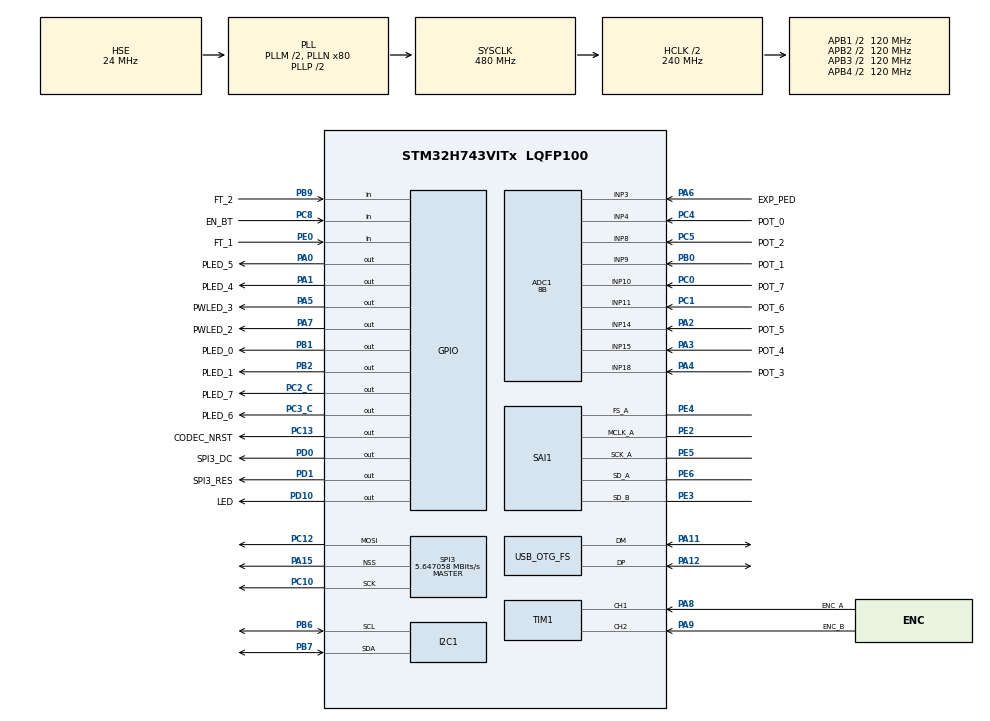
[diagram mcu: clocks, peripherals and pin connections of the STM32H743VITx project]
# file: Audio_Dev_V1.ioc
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ADC1.Channel-10\#ChannelRegularConversion=ADC_CHANNEL_3
ADC1.Channel-2\#ChannelRegularConversion=ADC_CHANNEL_4
ADC1.Channel-3\#ChannelRegularConversion=ADC_CHANNEL_9
ADC1.Channel-4\#ChannelRegularConversion=ADC_CHANNEL_8
ADC1.Channel-5\#ChannelRegularConversion=ADC_CHANNEL_18
ADC1.Channel-6\#ChannelRegularConversion=ADC_CHANNEL_15
ADC1.Channel-7\#ChannelRegularConversion=ADC_CHANNEL_14
ADC1.Channel-8\#ChannelRegularConversion=ADC_CHANNEL_11
ADC1.Channel-9\#ChannelRegularConversion=ADC_CHANNEL_10
ADC1.ContinuousConvMode=ENABLE
ADC1.ConversionDataManagement=ADC_CONVERSIONDATA_DMA_CIRCULAR
ADC1.NbrOfConversion=9
ADC1.NbrOfConversionFlag=1
ADC1.OffsetNumber-10\#ChannelRegularConversion=ADC_OFFSET_NONE
ADC1.OffsetNumber-2\#ChannelRegularConversion=ADC_OFFSET_NONE
ADC1.OffsetNumber-3\#ChannelRegularConversion=ADC_OFFSET_NONE
ADC1.OffsetNumber-4\#ChannelRegularConversion=ADC_OFFSET_NONE
ADC1.OffsetNumber-5\#ChannelRegularConversion=ADC_OFFSET_NONE
ADC1.OffsetNumber-6\#ChannelRegularConversion=ADC_OFFSET_NONE
ADC1.OffsetNumber-7\#ChannelRegularConversion=ADC_OFFSET_NONE
ADC1.OffsetNumber-8\#ChannelRegularConversion=ADC_OFFSET_NONE
ADC1.OffsetNumber-9\#ChannelRegularConversion=ADC_OFFSET_NONE
ADC1.OffsetSignedSaturation-10\#ChannelRegularConversion=DISABLE
ADC1.OffsetSignedSaturation-2\#ChannelRegularConversion=DISABLE
ADC1.OffsetSignedSaturation-3\#ChannelRegularConversion=DISABLE
ADC1.OffsetSignedSaturation-4\#ChannelRegularConversion=DISABLE
ADC1.OffsetSignedSaturation-5\#ChannelRegularConversion=DISABLE
ADC1.OffsetSignedSaturation-6\#ChannelRegularConversion=DISABLE
ADC1.OffsetSignedSaturation-7\#ChannelRegularConversion=DISABLE
ADC1.OffsetSignedSaturation-8\#ChannelRegularConversion=DISABLE
ADC1.OffsetSignedSaturation-9\#ChannelRegularConversion=DISABLE
ADC1.Rank-10\#ChannelRegularConversion=9
ADC1.Rank-2\#ChannelRegularConversion=1
ADC1.Rank-3\#ChannelRegularConversion=2
ADC1.Rank-4\#ChannelRegularConversion=3
ADC1.Rank-5\#ChannelRegularConversion=4
ADC1.Rank-6\#ChannelRegularConversion=5
ADC1.Rank-7\#ChannelRegularConversion=6
ADC1.Rank-8\#ChannelRegularConversion=7
ADC1.Rank-9\#ChannelRegularConversion=8
ADC1.Resolution=ADC_RESOLUTION_8B
ADC1.SamplingTime-10\#ChannelRegularConversion=ADC_SAMPLETIME_810CYCLES_5
ADC1.SamplingTime-2\#ChannelRegularConversion=ADC_SAMPLETIME_810CYCLES_5
ADC1.SamplingTime-3\#ChannelRegularConversion=ADC_SAMPLETIME_810CYCLES_5
ADC1.SamplingTime-4\#ChannelRegularConversion=ADC_SAMPLETIME_810CYCLES_5
ADC1.SamplingTime-5\#ChannelRegularConversion=ADC_SAMPLETIME_810CYCLES_5
ADC1.SamplingTime-6\#ChannelRegularConversion=ADC_SAMPLETIME_810CYCLES_5
ADC1.SamplingTime-7\#ChannelRegularConversion=ADC_SAMPLETIME_810CYCLES_5
ADC1.SamplingTime-8\#ChannelRegularConversion=ADC_SAMPLETIME_810CYCLES_5
ADC1.SamplingTime-9\#ChannelRegularConversion=ADC_SAMPLETIME_810CYCLES_5
ADC1.master=1
Dma.ADC1.2.Direction=DMA_PERIPH_TO_MEMORY
Dma.ADC1.2.EventEnable=DISABLE
Dma.ADC1.2.FIFOMode=DMA_FIFOMODE_DISABLE
Dma.ADC1.2.Instance=DMA1_Stream2
Dma.ADC1.2.MemDataAlignment=DMA_MDATAALIGN_BYTE
Dma.ADC1.2.MemInc=DMA_MINC_ENABLE
Dma.ADC1.2.Mode=DMA_CIRCULAR
Dma.ADC1.2.PeriphDataAlignment=DMA_PDATAALIGN_BYTE
Dma.ADC1.2.PeriphInc=DMA_PINC_DISABLE
Dma.ADC1.2.Polarity=HAL_DMAMUX_REQ_GEN_RISING
Dma.ADC1.2.Priority=DMA_PRIORITY_LOW
Dma.ADC1.2.RequestNumber=1
Dma.ADC1.2.SignalID=NONE
Dma.ADC1.2.SyncEnable=DISABLE
Dma.ADC1.2.SyncPolarity=HAL_DMAMUX_SYNC_NO_EVENT
Dma.ADC1.2.SyncRequestNumber=1
Dma.ADC1.2.SyncSignalID=NONE
Dma.Request0=SAI1_A
Dma.Request1=SAI1_B
Dma.Request2=ADC1
Dma.SAI1_A.0.Direction=DMA_MEMORY_TO_PERIPH
Dma.SAI1_A.0.EventEnable=DISABLE
Dma.SAI1_A.0.FIFOMode=DMA_FIFOMODE_DISABLE
Dma.SAI1_A.0.Instance=DMA1_Stream0
Dma.SAI1_A.0.MemDataAlignment=DMA_MDATAALIGN_WORD
Dma.SAI1_A.0.MemInc=DMA_MINC_ENABLE
Dma.SAI1_A.0.Mode=DMA_CIRCULAR
Dma.SAI1_A.0.PeriphDataAlignment=DMA_PDATAALIGN_WORD
Dma.SAI1_A.0.PeriphInc=DMA_PINC_DISABLE
Dma.SAI1_A.0.Polarity=HAL_DMAMUX_REQ_GEN_RISING
Dma.SAI1_A.0.Priority=DMA_PRIORITY_VERY_HIGH
Dma.SAI1_A.0.RequestNumber=1
Dma.SAI1_A.0.SignalID=NONE
Dma.SAI1_A.0.SyncEnable=DISABLE
Dma.SAI1_A.0.SyncPolarity=HAL_DMAMUX_SYNC_NO_EVENT
Dma.SAI1_A.0.SyncRequestNumber=1
Dma.SAI1_A.0.SyncSignalID=NONE
Dma.SAI1_B.1.Direction=DMA_PERIPH_TO_MEMORY
Dma.SAI1_B.1.EventEnable=DISABLE
Dma.SAI1_B.1.FIFOMode=DMA_FIFOMODE_DISABLE
Dma.SAI1_B.1.Instance=DMA1_Stream1
Dma.SAI1_B.1.MemDataAlignment=DMA_MDATAALIGN_WORD
Dma.SAI1_B.1.MemInc=DMA_MINC_ENABLE
Dma.SAI1_B.1.Mode=DMA_CIRCULAR
Dma.SAI1_B.1.PeriphDataAlignment=DMA_PDATAALIGN_WORD
Dma.SAI1_B.1.PeriphInc=DMA_PINC_DISABLE
Dma.SAI1_B.1.Polarity=HAL_DMAMUX_REQ_GEN_RISING
Dma.SAI1_B.1.Priority=DMA_PRIORITY_VERY_HIGH
Dma.SAI1_B.1.RequestNumber=1
Dma.SAI1_B.1.SignalID=NONE
Dma.SAI1_B.1.SyncEnable=DISABLE
Dma.SAI1_B.1.SyncPolarity=HAL_DMAMUX_SYNC_NO_EVENT
Dma.SAI1_B.1.SyncRequestNumber=1
Dma.SAI1_B.1.SyncSignalID=NONE
I2C1.Timing=0x40000A0B
Mcu.Family=STM32H7
Mcu.Name=STM32H743VITx
Mcu.Package=LQFP100
NVIC.DMA1_Stream0_IRQn=true\:0\:0\:false\:false\:true\:false\:true\:true
NVIC.DMA1_Stream1_IRQn=true\:0\:0\:false\:false\:true\:false\:true\:true
NVIC.DMA1_Stream2_IRQn=true\:0\:0\:false\:false\:true\:false\:true\:true
NVIC.OTG_FS_IRQn=true\:0\:0\:false\:false\:true\:false\:true\:true
NVIC.PriorityGroup=NVIC_PRIORITYGROUP_4
NVIC.TIM6_DAC_IRQn=true\:0\:0\:false\:false\:true\:true\:true\:true
PA0.GPIO_Label=PLED_5
PA0.Signal=GPIO_Output
PA1.GPIO_Label=PLED_4
PA1.Signal=GPIO_Output
PA11.Mode=Device_Only
PA11.Signal=USB_OTG_FS_DM
PA12.Mode=Device_Only
PA12.Signal=USB_OTG_FS_DP
PA13\ (JTMS/SWDIO).Mode=Trace_Asynchronous_SW
PA13\ (JTMS/SWDIO).Signal=DEBUG_JTMS-SWDIO
PA14\ (JTCK/SWCLK).Mode=Trace_Asynchronous_SW
PA14\ (JTCK/SWCLK).Signal=DEBUG_JTCK-SWCLK
PA15\ (JTDI).Mode=NSS_Signal_Hard_Output
PA15\ (JTDI).Signal=SPI3_NSS
PA2.GPIO_Label=POT_5
PA2.Signal=ADCx_INP14
PA3.GPIO_Label=POT_4
PA3.Signal=ADCx_INP15
PA4.GPIO_Label=POT_3
PA4.Signal=ADCx_INP18
PA5.GPIO_Label=PWLED_3
PA5.Signal=GPIO_Output
PA6.GPIO_Label=EXP_PED
PA6.Signal=ADCx_INP3
PA7.GPIO_Label=PWLED_2
PA7.Signal=GPIO_Output
PA8.GPIO_Label=ENC_A
PA8.Signal=S_TIM1_CH1
PA9.GPIO_Label=ENC_B
PA9.Signal=S_TIM1_CH2
PB0.GPIO_Label=POT_1
PB0.Signal=ADCx_INP9
PB1.GPIO_Label=PLED_0
PB1.Signal=GPIO_Output
PB2.GPIO_Label=PLED_1
PB2.Signal=GPIO_Output
PB3\ (JTDO/TRACESWO).Mode=Trace_Asynchronous_SW
PB3\ (JTDO/TRACESWO).Signal=DEBUG_JTDO-SWO
PB6.Mode=I2C
PB6.Signal=I2C1_SCL
PB7.Mode=I2C
PB7.Signal=I2C1_SDA
PB9.GPIO_Label=FT_2
PB9.GPIO_PuPd=GPIO_PULLUP
PB9.Signal=GPIO_Input
PC0.GPIO_Label=POT_7
PC0.Signal=ADCx_INP10
PC1.GPIO_Label=POT_6
PC1.Signal=ADCx_INP11
PC10.Mode=TX_Only_Simplex_Unidirect_Master
PC10.Signal=SPI3_SCK
PC12.Mode=TX_Only_Simplex_Unidirect_Master
PC12.Signal=SPI3_MOSI
PC13.GPIO_Label=CODEC_NRST
PC13.Signal=GPIO_Output
PC2_C.GPIO_Label=PLED_7
PC2_C.Signal=GPIO_Output
PC3_C.GPIO_Label=PLED_6
PC3_C.Signal=GPIO_Output
PC4.GPIO_Label=POT_0
PC4.Signal=ADCx_INP4
PC5.GPIO_Label=POT_2
PC5.Signal=ADCx_INP8
PC8.GPIO_Label=EN_BT
PC8.Signal=GPIO_Input
PD0.GPIO_Label=SPI3_DC
PD0.Signal=GPIO_Output
PD1.GPIO_Label=SPI3_RES
PD1.Signal=GPIO_Output
PD10.GPIO_Label=LED
PD10.Signal=GPIO_Output
PE0.GPIO_Label=FT_1
PE0.GPIO_PuPd=GPIO_PULLUP
PE0.Signal=GPIO_Input
PE2.Mode=SAI_A_MasterWithClock
PE2.Signal=SAI1_MCLK_A
PE3.Mode=SAI_B_SyncSlave
PE3.Signal=SAI1_SD_B
PE4.Mode=SAI_A_MasterWithClock
PE4.Signal=SAI1_FS_A
PE5.Mode=SAI_A_MasterWithClock
PE5.Signal=SAI1_SCK_A
PE6.Mode=SAI_A_MasterWithClock
PE6.Signal=SAI1_SD_A
PH0-OSC_IN\ (PH0).Mode=HSE-External-Oscillator
PH0-OSC_IN\ (PH0).Signal=RCC_OSC_IN
PH1-OSC_OUT\ (PH1).Mode=HSE-External-Oscillator
PH1-OSC_OUT\ (PH1).Signal=RCC_OSC_OUT
ProjectManager.HeapSize=0x200
ProjectManager.StackSize=0x400
ProjectManager.TargetToolchain=STM32CubeIDE
RCC.ADCCLockSelection=RCC_ADCCLKSOURCE_CLKP
RCC.ADCFreq_Value=24000000
RCC.APB1Freq_Value=120000000
RCC.APB2Freq_Value=120000000
RCC.APB3Freq_Value=120000000
RCC.APB4Freq_Value=120000000
RCC.CKPERSourceSelection=RCC_CLKPSOURCE_HSE
RCC.CortexFreq_Value=480000000
RCC.D1PPRE=RCC_APB3_DIV2
RCC.D2PPRE1=RCC_APB1_DIV2
RCC.D2PPRE2=RCC_APB2_DIV2
RCC.D3PPRE=RCC_APB4_DIV2
RCC.DIVM1=2
RCC.DIVM2=3
RCC.DIVM3=4
RCC.DIVN1=80
RCC.DIVN2=60
RCC.DIVN3=32
RCC.DIVP3=17
RCC.DIVQ1=4
RCC.DIVQ3=4
RCC.DIVR1=4
RCC.DIVR3=16
RCC.HCLKFreq_Value=240000000
RCC.HPRE=RCC_HCLK_DIV2
RCC.HSE_VALUE=24000000
RCC.I2C123CLockSelection=RCC_I2C123CLKSOURCE_PLL3
RCC.PLL1_VCI_Range=RCC_PLL1VCIRANGE_3
RCC.PLL2FRACN=0
RCC.PLL3FRACN=0
RCC.PLLFRACN=0
RCC.PLLSourceVirtual=RCC_PLLSOURCE_HSE
RCC.SAI1CLockSelection=RCC_SAI1CLKSOURCE_PLL3
RCC.SPI123CLockSelection=RCC_SPI123CLKSOURCE_PLL3
RCC.SYSCLKFreq_VALUE=480000000
RCC.SYSCLKSource=RCC_SYSCLKSOURCE_PLLCLK
RCC.USBCLockSelection=RCC_USBCLKSOURCE_PLL3
RCC.USBFreq_Value=48000000
SAI1.AudioFrequency-SAI_A_MasterWithClock=SAI_AUDIO_FREQUENCY_44K
SAI1.BasicDataSize-SAI_A_MasterWithClock=SAI_PROTOCOL_DATASIZE_24BIT
SAI1.BasicDataSize-SAI_B_SyncSlave=SAI_PROTOCOL_DATASIZE_24BIT
SAI1.ErrorAudioFreq-SAI_A_MasterWithClock=0.26 %
SAI1.InitProtocol-SAI_A_MasterWithClock=Enable
SAI1.InitProtocol-SAI_B_SyncSlave=Enable
SAI1.Instance-SAI_A_MasterWithClock=SAI$Index_Block_A
SAI1.Instance-SAI_B_SyncSlave=SAI$Index_Block_B
SAI1.MClockEnable=SAI_MASTERCLOCK_ENABLE
SAI1.NoDivider-SAI_A_MasterWithClock=SAI_MASTERDIVIDER_ENABLE
SAI1.RealAudioFreq-SAI_A_MasterWithClock=44.117 KHz
SAI1.VirtualMode-SAI_A_MasterWithClock=VM_MASTER
SAI1.VirtualMode-SAI_B_SyncSlave=VM_SLAVE
SAI1.VirtualProtocol-SAI_A_BASIC=VM_BASIC_PROTOCOL
SAI1.VirtualProtocol-SAI_B_BASIC=VM_BASIC_PROTOCOL
SH.ADCx_INP10.0=ADC1_INP10,IN10-Single-Ended
SH.ADCx_INP11.0=ADC1_INP11,IN11-Single-Ended
SH.ADCx_INP14.0=ADC1_INP14,IN14-Single-Ended
SH.ADCx_INP15.0=ADC1_INP15,IN15-Single-Ended
SH.ADCx_INP18.0=ADC1_INP18,IN18-Single-Ended
SH.ADCx_INP3.0=ADC1_INP3,IN3-Single-Ended
SH.ADCx_INP4.0=ADC1_INP4,IN4-Single-Ended
SH.ADCx_INP8.0=ADC1_INP8,IN8-Single-Ended
SH.ADCx_INP9.0=ADC1_INP9,IN9-Single-Ended
SH.S_TIM1_CH1.0=TIM1_CH1,Encoder_Interface
SH.S_TIM1_CH2.0=TIM1_CH2,Encoder_Interface
SPI3.CalculateBaudRate=5.647058 MBits/s
SPI3.Direction=SPI_DIRECTION_2LINES_TXONLY
SPI3.Mode=SPI_MODE_MASTER
SPI3.VirtualNSS=VM_NSSHARD
SPI3.VirtualType=VM_MASTER
TIM1.EncoderMode=TIM_ENCODERMODE_TI12
TIM6.Period=47999
TIM6.Prescaler=99
USB_DEVICE.CLASS_NAME_FS=CDC
USB_DEVICE.VirtualMode-CDC_FS=Cdc
USB_DEVICE.VirtualModeFS=Cdc_FS
USB_OTG_FS.VirtualMode=Device_Only
VP_SAI1_VP_$IpInstance_SAIA_SAI_BASIC.Mode=SAI_A_BASIC
VP_SAI1_VP_$IpInstance_SAIB_SAI_BASIC.Mode=SAI_B_BASIC
VP_TIM6_VS_ClockSourceINT.Mode=Enable_Timer
VP_USB_DEVICE_VS_USB_DEVICE_CDC_FS.Mode=CDC_FS
board=custom

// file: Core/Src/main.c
/* USER CODE BEGIN Header */
/**
  ******************************************************************************
  * @file           : main.c
  * @brief          : Main program body
  ******************************************************************************
  * @attention
  *
  * Copyright (c) 2024 STMicroelectronics.
  * All rights reserved.
  *
  * This software is licensed under terms that can be found in the LICENSE file
  * in the root directory of this software component.
  * If no LICENSE file comes with this software, it is provided AS-IS.
  *
  ******************************************************************************
  */
/* USER CODE END Header */
#include "main.h"
#include "usb_device.h"

/* USER CODE BEGIN Includes */
//#include "usbd_cdc_if.h"
#include "CS4270-Codec.h"
#include "DDFX_Delay.h"
#include "DDFX_Tremolo.h"
#include "noisegate.h"
#include "fuzz.h"
/* USER CODE END Includes */

/* USER CODE BEGIN PD */
#define AUDIO_BUFFER_SIZE 		256
#define SAMPLEING_FREQUENCY 	41100 // 41.1k Hz sampling frequency
#define THRESHOLD 				0x7FFFFF00 // Just below maximum 32-bit value

#define ENCODER_MAX_COUNT 		UINT16_MAX // maximum encoder count before overflow
#define CONTROL_SETTING_COUNT 	9 // the number of Pot values we can read from

#define TREM_MIX_SCALE 			1.0f
#define TREM_LFO_FREQ_MIN 		0.5f
#define TREM_LFO_FREQ_SCALE		10.0f

/* USER CODE END PD */

ADC_HandleTypeDef hadc1;
DMA_HandleTypeDef hdma_adc1;

I2C_HandleTypeDef hi2c1;

SAI_HandleTypeDef hsai_BlockA1;
SAI_HandleTypeDef hsai_BlockB1;
DMA_HandleTypeDef hdma_sai1_a;
DMA_HandleTypeDef hdma_sai1_b;

SPI_HandleTypeDef hspi3;

TIM_HandleTypeDef htim1;
TIM_HandleTypeDef htim6;

/* USER CODE BEGIN PV */

// Lookup table with 249 values from 0 to 1 (mapping 7 to 255)
static const float adcLUT[256] = {
	0.0000f, 0.0000f, 0.0000f, 0.0000f, 0.0000f, 0.0000f, 0.0000f,
    0.0000f, 0.0040f, 0.0081f, 0.0121f, 0.0161f, 0.0202f, 0.0242f, 0.0282f,
    0.0323f, 0.0363f, 0.0403f, 0.0444f, 0.0484f, 0.0524f, 0.0565f, 0.0605f,
    0.0645f, 0.0685f, 0.0726f, 0.0766f, 0.0806f, 0.0847f, 0.0887f, 0.0927f,
    0.0968f, 0.1008f, 0.1048f, 0.1089f, 0.1129f, 0.1169f, 0.1210f, 0.1250f,
    0.1290f, 0.1331f, 0.1371f, 0.1411f, 0.1452f, 0.1492f, 0.1532f, 0.1573f,
    0.1613f, 0.1653f, 0.1694f, 0.1734f, 0.1774f, 0.1815f, 0.1855f, 0.1895f,
    0.1936f, 0.1976f, 0.2016f, 0.2056f, 0.2097f, 0.2137f, 0.2177f, 0.2218f,
    0.2258f, 0.2298f, 0.2339f, 0.2379f, 0.2419f, 0.2460f, 0.2500f, 0.2540f,
    0.2581f, 0.2621f, 0.2661f, 0.2702f, 0.2742f, 0.2782f, 0.2823f, 0.2863f,
    0.2903f, 0.2944f, 0.2984f, 0.3024f, 0.3065f, 0.3105f, 0.3145f, 0.3185f,
    0.3226f, 0.3266f, 0.3306f, 0.3347f, 0.3387f, 0.3427f, 0.3468f, 0.3508f,
    0.3548f, 0.3589f, 0.3629f, 0.3669f, 0.3710f, 0.3750f, 0.3790f, 0.3831f,
    0.3871f, 0.3911f, 0.3952f, 0.3992f, 0.4032f, 0.4073f, 0.4113f, 0.4153f,
    0.4194f, 0.4234f, 0.4274f, 0.4315f, 0.4355f, 0.4395f, 0.4435f, 0.4476f,
    0.4516f, 0.4556f, 0.4597f, 0.4637f, 0.4677f, 0.4718f, 0.4758f, 0.4798f,
    0.4839f, 0.4879f, 0.4919f, 0.4960f, 0.5000f, 0.5040f, 0.5081f, 0.5121f,
    0.5161f, 0.5202f, 0.5242f, 0.5282f, 0.5323f, 0.5363f, 0.5403f, 0.5444f,
    0.5484f, 0.5524f, 0.5565f, 0.5605f, 0.5645f, 0.5685f, 0.5726f, 0.5766f,
    0.5806f, 0.5847f, 0.5887f, 0.5927f, 0.5968f, 0.6008f, 0.6048f, 0.6089f,
    0.6129f, 0.6169f, 0.6210f, 0.6250f, 0.6290f, 0.6331f, 0.6371f, 0.6411f,
    0.6452f, 0.6492f, 0.6532f, 0.6573f, 0.6613f, 0.6653f, 0.6694f, 0.6734f,
    0.6774f, 0.6815f, 0.6855f, 0.6895f, 0.6935f, 0.6976f, 0.7016f, 0.7056f,
    0.7097f, 0.7137f, 0.7177f, 0.7218f, 0.7258f, 0.7298f, 0.7339f, 0.7379f,
    0.7419f, 0.7460f, 0.7500f, 0.7540f, 0.7581f, 0.7621f, 0.7661f, 0.7702f,
    0.7742f, 0.7782f, 0.7823f, 0.7863f, 0.7903f, 0.7944f, 0.7984f, 0.8024f,
    0.8065f, 0.8105f, 0.8145f, 0.8185f, 0.8226f, 0.8266f, 0.8306f, 0.8347f,
    0.8387f, 0.8427f, 0.8468f, 0.8508f, 0.8548f, 0.8589f, 0.8629f, 0.8669f,
    0.8710f, 0.8750f, 0.8790f, 0.8831f, 0.8871f, 0.8911f, 0.8952f, 0.8992f,
    0.9032f, 0.9073f, 0.9113f, 0.9153f, 0.9194f, 0.9234f, 0.9274f, 0.9315f,
    0.9355f, 0.9395f, 0.9435f, 0.9476f, 0.9516f, 0.9556f, 0.9597f, 0.9637f,
    0.9677f, 0.9718f, 0.9758f, 0.9798f, 0.9839f, 0.9879f, 0.9919f, 0.9960f,
    1.0000f
};

/* Buffer Declares*/
int32_t adcBuf[AUDIO_BUFFER_SIZE];
int32_t dacBuf[AUDIO_BUFFER_SIZE];

static volatile int32_t *inBufPtr;
static volatile int32_t *outBufPtr = &dacBuf[0];

uint8_t dataReadyFlag; // flag for checking if the buffers are half full ready to process
uint8_t controlSettingLocked; // lock control if it is ready to process or hasn't been 1/50 of a second

/* User Controls Declares */
uint8_t 		potValue[9] 	= {0};
volatile float	volume 			= 0.00f;
volatile float	perameter1[9]	= {0.00f}; // the 8 potentiometers reading and exp Ped
volatile float	expPed 			= 0.00f;
uint16_t 		encoder_count	= 0; // reads the register of the encoder count
int16_t 		rotEncoder 		= 0; // is the useful non overflow value
uint8_t 		Foot_Sw_1		= 0;
uint8_t			Foot_Sw_2 		= 0;

/* FX Processing Declares */
DDFX_Delay dly;
DDFX_Tremolo trem;
DDFX_NoiseGate ng;
DDFX_FUZZ fuzz;
/* USER CODE END PV */

void SystemClock_Config(void);
void PeriphCommonClock_Config(void);
static void MX_GPIO_Init(void);
static void MX_DMA_Init(void);
static void MX_ADC1_Init(void);
static void MX_I2C1_Init(void);
static void MX_TIM1_Init(void);
static void MX_SPI3_Init(void);
static void MX_SAI1_Init(void);
static void MX_TIM6_Init(void);

/* USER CODE BEGIN 0 */

void Error_LED() {
	  HAL_GPIO_WritePin(GPIOD, LED_Pin, GPIO_PIN_SET);
}

void HAL_SAI_TxHalfCpltCallback(SAI_HandleTypeDef *hsai)
{
	// Handle half transfer complete
	inBufPtr  = &adcBuf[0];
	outBufPtr = &dacBuf[0];

	dataReadyFlag = 1;
}

void HAL_SAI_TxCpltCallback(SAI_HandleTypeDef *hsai)
{
    // Handle transfer complete
	inBufPtr  = &adcBuf[AUDIO_BUFFER_SIZE/2];
	outBufPtr = &dacBuf[AUDIO_BUFFER_SIZE/2];

	dataReadyFlag = 1;
}

void HAL_SAI_RxHalfCpltCallback(SAI_HandleTypeDef *hsai)
{
    // Handle half transfer complete
	inBufPtr  = &adcBuf[0];
	outBufPtr = &dacBuf[0];

	dataReadyFlag = 1;
}

void HAL_SAI_RxCpltCallback(SAI_HandleTypeDef *hsai)
{
    // Handle transfer complete
	inBufPtr  = &adcBuf[AUDIO_BUFFER_SIZE/2];
	outBufPtr = &dacBuf[AUDIO_BUFFER_SIZE/2];

	dataReadyFlag = 1;
}

uint16_t Read_Encoder(){

	  //Handle overflow
		uint16_t start_encoder_count = TIM1->CNT;
	    int16_t delta_count = TIM1->CNT; ;
	    /*
	     * Checks if the differnece is more or less than half the encoder count
	     * if it is then it subtracks or adds the encoder count to keep it just counting normal
	     */
	    if (delta_count <= -ENCODER_MAX_COUNT / 2) {

	    	delta_count += ENCODER_MAX_COUNT + 1;

	    }

	    else if (delta_count >= ENCODER_MAX_COUNT / 2) {

	    	delta_count -= ENCODER_MAX_COUNT + 1;

	    }

	    encoder_count = start_encoder_count; // sets the encoder_count to the prev value for next time

	    return delta_count;

}

void Process_HalfBuffer(){

		controlSettingLocked = 1;

		// Input samples
		static float leftIn 	= 0.0f;
		static float rightIn	= 0.0f;

		// Output samples
		static float leftOut	= 0.0f;
		static float rightOut	= 0.0f;

		// Loop through half of audio buffer (double buffering), convert int->float,
		for (uint16_t sampleIndex = 0; sampleIndex < (AUDIO_BUFFER_SIZE/2) - 1; sampleIndex += 2){

			/*
			 *  Convert current input samples (24-bits) to floats (two I2S data lines,
			 */

			// Extract 24-bits via bit mask
			inBufPtr[sampleIndex]		&= 0xFFFFFF;
			inBufPtr[sampleIndex +1]	&= 0xFFFFFF;

			// Check if number is negative (sign bit)
			if (inBufPtr[sampleIndex] & 0x800000) {
				inBufPtr[sampleIndex] |= ~0xFFFFFF;
			}

			if (inBufPtr[sampleIndex +1] & 0x80000){
				inBufPtr[sampleIndex +1] |= ~0xFFFFFF;
			}

			// Normalise to float (-1.0 + 1.0)
			leftIn = (float) inBufPtr[sampleIndex]		/(float) (0x7FFFFF);
			rightIn = (float) inBufPtr[sampleIndex + 1]	/(float) (0x7FFFFF);

			leftIn  = DDFX_NoiseGate_Update(&ng, leftIn);
			rightIn = DDFX_NoiseGate_Update(&ng, rightIn);

			leftIn =DDFX_Delay_Update(&dly, leftIn); // volume control multiplied by input

			if (Foot_Sw_1 == 1 && Foot_Sw_2 == 0){

				leftOut  =	volume * applyFuzz(&fuzz, leftIn);
				//leftOut  =	volume * DDFX_Delay_Update(&dly, leftIn); // volume control multiplied by input
				rightOut =  volume * rightIn; //volume control multiplied by input

			} else if(Foot_Sw_1 == 1 && Foot_Sw_2 == 1) {

				leftOut  =	volume * applyFuzz(&fuzz, leftIn);
				leftOut  = volume * DDFX_Tremolo_Update(&trem, leftOut);
				//leftOut  = volume * DDFX_Tremolo_Update(&trem, leftIn);
				//leftOut  = DDFX_Delay_Update(&dly, leftOut); // volume control multiplied by input
				rightOut = volume * rightIn; //volume control multiplied by input

			} else if(Foot_Sw_1 == 0 && Foot_Sw_2 == 1){

				leftOut  = volume * DDFX_Tremolo_Update(&trem, leftIn);
				rightOut = volume * rightIn; //volume control multiplied by input

			} else {

				leftOut = volume  * leftIn; //volume control multiplied by input
				rightOut = volume * rightIn; //volume control multiplied by input
			}
			/*
			 *  Convert floats to 32-bit output samples
			 */

			int32_t scaledLeft = (int32_t)(leftOut * 8388607.0f);

			    // Ensure the result fits within 24 bits
			    scaledLeft &= 0x00FFFFFF;

			int32_t scaledRight = (int32_t)(rightOut * 8388607.0f);

				// Ensure the result fits within 24 bits
				scaledRight &= 0x00FFFFFF;

			outBufPtr[sampleIndex] =  scaledLeft;
			outBufPtr[sampleIndex +1] = scaledRight;

		}

		dataReadyFlag = 0;

}
/* USER CODE END 0 */

int main(void)
{

  /* MCU Configuration--------------------------------------------------------*/

  /* Reset of all peripherals, Initializes the Flash interface and the Systick. */
  HAL_Init();

  /* Configure the system clock */
  SystemClock_Config();

/* Configure the peripherals common clocks */
  PeriphCommonClock_Config();

  /* Initialize all configured peripherals */
  MX_GPIO_Init();
  MX_DMA_Init();
  MX_ADC1_Init();
  MX_I2C1_Init();
  MX_TIM1_Init();
  MX_SPI3_Init();
  MX_SAI1_Init();
  MX_TIM6_Init();
  MX_USB_DEVICE_Init();
  /* USER CODE BEGIN 2 */
  HAL_StatusTypeDef halStatus;
  /*
   * Initialise codec
   */
  uint8_t codecInitStatus = CS4270_Init(&hi2c1, CODEC_NRST_GPIO_Port, CODEC_NRST_Pin);
  if ( codecInitStatus !=0 ) {Error_LED();};

  /* Initialise SAIs (to start clocks, so that codec PLL locks) */
  halStatus = HAL_SAI_Init(&hsai_BlockA1);
  if ( halStatus != HAL_OK ) {Error_LED(); }

  halStatus = HAL_SAI_Init(&hsai_BlockB1);
  if ( halStatus != HAL_OK ) {Error_LED(); }
  /*
   *  Start SAI DAC transmission
   */
  halStatus = HAL_SAI_Transmit_DMA(&hsai_BlockA1, (uint8_t*)dacBuf, AUDIO_BUFFER_SIZE );
  if ( halStatus != HAL_OK ) {Error_LED(); }
  /*
   *  Start SAI ADC transmission
   */
  halStatus = HAL_SAI_Receive_DMA(&hsai_BlockB1, (uint8_t*)adcBuf, AUDIO_BUFFER_SIZE );
   if ( halStatus != HAL_OK ) {Error_LED(); }

   /*
    *  Start encoder counters
    */
  HAL_TIM_Encoder_Start(&htim1, TIM_CHANNEL_ALL);

   /*
    *  Start PWM timers and set PWM to 0 duty cycle
    */
//   __HAL_TIM_SET_COMPARE(&htim2, TIM_CHANNEL_2, 4294967295);
//   HAL_TIM_PWM_Start(&htim2, TIM_CHANNEL_2);
//
//   __HAL_TIM_SET_COMPARE(&htim3, TIM_CHANNEL_3, 65535);
//   HAL_TIM_PWM_Start(&htim3, TIM_CHANNEL_3);

   /*
    *  Start Internal ADC DMA streaming and set it to be continuos
    */

   HAL_ADC_Start_DMA(&hadc1, potValue, 9);

   /*
    *  Initilise the Effects
    */
   // DDFX_Delay_Init(DDFX_Delay *dly, float delayTime_ms, float mix, float feedback, float sampleRate_hz);
   DDFX_Delay_Init(&dly, 500.0f, 0.5f, 0.5f, SAMPLEING_FREQUENCY);

   // void DDFX_Tremolo_Init(DDFX_Tremolo *trem, float mix, float lfoFrequency_Hz, float sampleRate_Hz);
   DDFX_Tremolo_Init(&trem, 0.5f, 20.0f, SAMPLEING_FREQUENCY);

   // Noise gate Init
   DDFX_NoiseGate_Init(&ng, 0.02f, 100.0f, 10.0f, 10.0f, SAMPLEING_FREQUENCY);

   // Fuzz Init
   fuzz_init(&fuzz, 0.5f, 0.5f, 0.5f);

   // turn on Volume LED
   HAL_GPIO_WritePin(GPIOB, PLED_0_Pin, GPIO_PIN_SET);

   /*
    *  Start 50hz internal interupt
    */
   halStatus = HAL_TIM_Base_Start_IT(&htim6) ;
   if ( halStatus != HAL_OK ) {Error_LED(); }

  /* USER CODE END 2 */

  /* Infinite loop */
  while (1)
  {

    /* USER CODE BEGIN 3 */

	  if(dataReadyFlag){

		  Process_HalfBuffer();

	  }else if(!controlSettingLocked) {

		  uint8_t oldPotValue[9];

		  for (uint8_t controlSettingNum = 0; controlSettingNum < CONTROL_SETTING_COUNT; controlSettingNum++){

			  if (oldPotValue[controlSettingNum]!= potValue[controlSettingNum]){

				  switch(controlSettingNum) {

				  	  // Volume
				  	  case 0:

				  		  volume = adcLUT[potValue[0]];

				  		  break;

					  // Delay: Gain of delay or fuzz
					  case 1:

						  if (encoder_count > 0){
							  dly.mix = adcLUT[potValue[1]];

						  } else{
							  fuzz.clip = adcLUT[potValue[1]];
						  }
//						  fuzz.clip = adcLUT[potValue[1]];
//
//						  dly.mix = adcLUT[potValue[1]];

						  break;

					  // Delay: Set how long Delay is
					  case 2:
						  if (encoder_count > 0){
							  DDFX_Delay_SetLength(&dly, 50.0f + 950.0f *adcLUT[potValue[2]], SAMPLEING_FREQUENCY);

						  } else{
							  fuzz.crunch = adcLUT[potValue[2]];
						  }
//						  fuzz.crunch = adcLUT[potValue[2]];
//						  DDFX_Delay_SetLength(&dly, 50.0f + 950.0f *adcLUT[potValue[2]], SAMPLEING_FREQUENCY);

						  break;

					  // Delay: Set feedback amount & set fuzz clip
					  case 3:

						  if (encoder_count > 0){
							  dly.feedback = adcLUT[potValue[3]];

						  } else{
							  fuzz.threshold = adcLUT[potValue[3]];
						  }
//						  fuzz.threshold = adcLUT[potValue[3]];
//						  dly.feedback = adcLUT[potValue[3]];

						  break;

					  // Tremolo: Set mix
					  case 6:

						  float mix = TREM_MIX_SCALE * adcLUT[potValue[6]];
						  DDFX_Tremolo_SetMix(&trem, mix);

						  break;

					  case 7:

						  float lfoFreq_Hz = TREM_LFO_FREQ_MIN + TREM_LFO_FREQ_SCALE * adcLUT[potValue[7]];
						  DDFX_Tremolo_SetLFO_Freq(&trem, lfoFreq_Hz);

						  break;

					  default :

						  break;

				  }

			  }
			  oldPotValue[controlSettingNum] = potValue[controlSettingNum];
		  }

		    rotEncoder = Read_Encoder(); // sets the rotEncoder value and a signed value to see if we have counted up or down

		    /*
		     * Read Foot Switches and turn on associated LED's
		     */
		    Foot_Sw_1 = HAL_GPIO_ReadPin(FT_1_GPIO_Port, FT_1_Pin);

		    if (Foot_Sw_1 == 1){

		    	HAL_GPIO_WritePin(GPIOB, PLED_1_Pin, GPIO_PIN_SET);
		    	HAL_GPIO_WritePin(GPIOA,PWLED_3_Pin|PWLED_2_Pin, GPIO_PIN_SET);

		    }else {

		    	HAL_GPIO_WritePin(GPIOB, PLED_1_Pin, GPIO_PIN_RESET);
		    	HAL_GPIO_WritePin(GPIOA,PWLED_3_Pin|PWLED_2_Pin, GPIO_PIN_RESET);

		    }

		    Foot_Sw_2 = HAL_GPIO_ReadPin(FT_2_GPIO_Port, FT_2_Pin);

		    if (Foot_Sw_2 == 1){

		    	HAL_GPIO_WritePin(GPIOC, PLED_7_Pin|PLED_6_Pin, GPIO_PIN_SET);

		    }else {

		    	HAL_GPIO_WritePin(GPIOC, PLED_7_Pin|PLED_6_Pin, GPIO_PIN_RESET);

		    }

		    if (encoder_count > 0){

		    	HAL_GPIO_WritePin(GPIOB, PLED_1_Pin, GPIO_PIN_SET);
		    	HAL_GPIO_WritePin(GPIOA,PWLED_3_Pin|PWLED_2_Pin, GPIO_PIN_SET);
		    	HAL_GPIO_WritePin(GPIOC, PLED_7_Pin|PLED_6_Pin, GPIO_PIN_RESET);

		    }

	  }

  }
  /* USER CODE END 3 */
}

void SystemClock_Config(void)
{
  RCC_OscInitTypeDef RCC_OscInitStruct = {0};
  RCC_ClkInitTypeDef RCC_ClkInitStruct = {0};

  /** Supply configuration update enable
  */
  HAL_PWREx_ConfigSupply(PWR_LDO_SUPPLY);

  /** Configure the main internal regulator output voltage
  */
  __HAL_PWR_VOLTAGESCALING_CONFIG(PWR_REGULATOR_VOLTAGE_SCALE1);

  while(!__HAL_PWR_GET_FLAG(PWR_FLAG_VOSRDY)) {}

  __HAL_RCC_SYSCFG_CLK_ENABLE();
  __HAL_PWR_VOLTAGESCALING_CONFIG(PWR_REGULATOR_VOLTAGE_SCALE0);

  while(!__HAL_PWR_GET_FLAG(PWR_FLAG_VOSRDY)) {}

  /** Initializes the RCC Oscillators according to the specified parameters
  * in the RCC_OscInitTypeDef structure.
  */
  RCC_OscInitStruct.OscillatorType = RCC_OSCILLATORTYPE_HSE;
  RCC_OscInitStruct.HSEState = RCC_HSE_ON;
  RCC_OscInitStruct.PLL.PLLState = RCC_PLL_ON;
  RCC_OscInitStruct.PLL.PLLSource = RCC_PLLSOURCE_HSE;
  RCC_OscInitStruct.PLL.PLLM = 2;
  RCC_OscInitStruct.PLL.PLLN = 80;
  RCC_OscInitStruct.PLL.PLLP = 2;
  RCC_OscInitStruct.PLL.PLLQ = 4;
  RCC_OscInitStruct.PLL.PLLR = 4;
  RCC_OscInitStruct.PLL.PLLRGE = RCC_PLL1VCIRANGE_3;
  RCC_OscInitStruct.PLL.PLLVCOSEL = RCC_PLL1VCOWIDE;
  RCC_OscInitStruct.PLL.PLLFRACN = 0;
  if (HAL_RCC_OscConfig(&RCC_OscInitStruct) != HAL_OK)
  {
    Error_Handler();
  }

  /** Initializes the CPU, AHB and APB buses clocks
  */
  RCC_ClkInitStruct.ClockType = RCC_CLOCKTYPE_HCLK|RCC_CLOCKTYPE_SYSCLK
                              |RCC_CLOCKTYPE_PCLK1|RCC_CLOCKTYPE_PCLK2
                              |RCC_CLOCKTYPE_D3PCLK1|RCC_CLOCKTYPE_D1PCLK1;
  RCC_ClkInitStruct.SYSCLKSource = RCC_SYSCLKSOURCE_PLLCLK;
  RCC_ClkInitStruct.SYSCLKDivider = RCC_SYSCLK_DIV1;
  RCC_ClkInitStruct.AHBCLKDivider = RCC_HCLK_DIV2;
  RCC_ClkInitStruct.APB3CLKDivider = RCC_APB3_DIV2;
  RCC_ClkInitStruct.APB1CLKDivider = RCC_APB1_DIV2;
  RCC_ClkInitStruct.APB2CLKDivider = RCC_APB2_DIV2;
  RCC_ClkInitStruct.APB4CLKDivider = RCC_APB4_DIV2;

  if (HAL_RCC_ClockConfig(&RCC_ClkInitStruct, FLASH_LATENCY_4) != HAL_OK)
  {
    Error_Handler();
  }
}

void PeriphCommonClock_Config(void)
{
  RCC_PeriphCLKInitTypeDef PeriphClkInitStruct = {0};

  /** Initializes the peripherals clock
  */
  PeriphClkInitStruct.PeriphClockSelection = RCC_PERIPHCLK_USB|RCC_PERIPHCLK_I2C1
                              |RCC_PERIPHCLK_SAI1|RCC_PERIPHCLK_SPI3
                              |RCC_PERIPHCLK_CKPER;
  PeriphClkInitStruct.PLL3.PLL3M = 4;
  PeriphClkInitStruct.PLL3.PLL3N = 32;
  PeriphClkInitStruct.PLL3.PLL3P = 17;
  PeriphClkInitStruct.PLL3.PLL3Q = 4;
  PeriphClkInitStruct.PLL3.PLL3R = 16;
  PeriphClkInitStruct.PLL3.PLL3RGE = RCC_PLL3VCIRANGE_2;
  PeriphClkInitStruct.PLL3.PLL3VCOSEL = RCC_PLL3VCOWIDE;
  PeriphClkInitStruct.PLL3.PLL3FRACN = 0;
  PeriphClkInitStruct.CkperClockSelection = RCC_CLKPSOURCE_HSE;
  PeriphClkInitStruct.Sai1ClockSelection = RCC_SAI1CLKSOURCE_PLL3;
  PeriphClkInitStruct.Spi123ClockSelection = RCC_SPI123CLKSOURCE_PLL3;
  PeriphClkInitStruct.I2c123ClockSelection = RCC_I2C123CLKSOURCE_PLL3;
  PeriphClkInitStruct.UsbClockSelection = RCC_USBCLKSOURCE_PLL3;
  if (HAL_RCCEx_PeriphCLKConfig(&PeriphClkInitStruct) != HAL_OK)
  {
    Error_Handler();
  }
}

static void MX_ADC1_Init(void)
{

  ADC_MultiModeTypeDef multimode = {0};
  ADC_ChannelConfTypeDef sConfig = {0};

  /** Common config
  */
  hadc1.Instance = ADC1;
  hadc1.Init.ClockPrescaler = ADC_CLOCK_ASYNC_DIV1;
  hadc1.Init.Resolution = ADC_RESOLUTION_8B;
  hadc1.Init.ScanConvMode = ADC_SCAN_ENABLE;
  hadc1.Init.EOCSelection = ADC_EOC_SINGLE_CONV;
  hadc1.Init.LowPowerAutoWait = DISABLE;
  hadc1.Init.ContinuousConvMode = ENABLE;
  hadc1.Init.NbrOfConversion = 9;
  hadc1.Init.DiscontinuousConvMode = DISABLE;
  hadc1.Init.ExternalTrigConv = ADC_SOFTWARE_START;
  hadc1.Init.ExternalTrigConvEdge = ADC_EXTERNALTRIGCONVEDGE_NONE;
  hadc1.Init.ConversionDataManagement = ADC_CONVERSIONDATA_DMA_CIRCULAR;
  hadc1.Init.Overrun = ADC_OVR_DATA_PRESERVED;
  hadc1.Init.LeftBitShift = ADC_LEFTBITSHIFT_NONE;
  hadc1.Init.OversamplingMode = DISABLE;
  if (HAL_ADC_Init(&hadc1) != HAL_OK)
  {
    Error_Handler();
  }

  /** Configure the ADC multi-mode
  */
  multimode.Mode = ADC_MODE_INDEPENDENT;
  if (HAL_ADCEx_MultiModeConfigChannel(&hadc1, &multimode) != HAL_OK)
  {
    Error_Handler();
  }

  /** Configure Regular Channel
  */
  sConfig.Channel = ADC_CHANNEL_4;
  sConfig.Rank = ADC_REGULAR_RANK_1;
  sConfig.SamplingTime = ADC_SAMPLETIME_810CYCLES_5;
  sConfig.SingleDiff = ADC_SINGLE_ENDED;
  sConfig.OffsetNumber = ADC_OFFSET_NONE;
  sConfig.Offset = 0;
  sConfig.OffsetSignedSaturation = DISABLE;
  if (HAL_ADC_ConfigChannel(&hadc1, &sConfig) != HAL_OK)
  {
    Error_Handler();
  }

  /** Configure Regular Channel
  */
  sConfig.Channel = ADC_CHANNEL_9;
  sConfig.Rank = ADC_REGULAR_RANK_2;
  if (HAL_ADC_ConfigChannel(&hadc1, &sConfig) != HAL_OK)
  {
    Error_Handler();
  }

  /** Configure Regular Channel
  */
  sConfig.Channel = ADC_CHANNEL_8;
  sConfig.Rank = ADC_REGULAR_RANK_3;
  if (HAL_ADC_ConfigChannel(&hadc1, &sConfig) != HAL_OK)
  {
    Error_Handler();
  }

  /** Configure Regular Channel
  */
  sConfig.Channel = ADC_CHANNEL_18;
  sConfig.Rank = ADC_REGULAR_RANK_4;
  if (HAL_ADC_ConfigChannel(&hadc1, &sConfig) != HAL_OK)
  {
    Error_Handler();
  }

  /** Configure Regular Channel
  */
  sConfig.Channel = ADC_CHANNEL_15;
  sConfig.Rank = ADC_REGULAR_RANK_5;
  if (HAL_ADC_ConfigChannel(&hadc1, &sConfig) != HAL_OK)
  {
    Error_Handler();
  }

  /** Configure Regular Channel
  */
  sConfig.Channel = ADC_CHANNEL_14;
  sConfig.Rank = ADC_REGULAR_RANK_6;
  if (HAL_ADC_ConfigChannel(&hadc1, &sConfig) != HAL_OK)
  {
    Error_Handler();
  }

  /** Configure Regular Channel
  */
  sConfig.Channel = ADC_CHANNEL_11;
  sConfig.Rank = ADC_REGULAR_RANK_7;
  if (HAL_ADC_ConfigChannel(&hadc1, &sConfig) != HAL_OK)
  {
    Error_Handler();
  }

  /** Configure Regular Channel
  */
  sConfig.Channel = ADC_CHANNEL_10;
  sConfig.Rank = ADC_REGULAR_RANK_8;
  if (HAL_ADC_ConfigChannel(&hadc1, &sConfig) != HAL_OK)
  {
    Error_Handler();
  }

  /** Configure Regular Channel
  */
  sConfig.Channel = ADC_CHANNEL_3;
  sConfig.Rank = ADC_REGULAR_RANK_9;
  if (HAL_ADC_ConfigChannel(&hadc1, &sConfig) != HAL_OK)
  {
    Error_Handler();
  }

}

static void MX_I2C1_Init(void)
{

  hi2c1.Instance = I2C1;
  hi2c1.Init.Timing = 0x40000A0B;
  hi2c1.Init.OwnAddress1 = 0;
  hi2c1.Init.AddressingMode = I2C_ADDRESSINGMODE_7BIT;
  hi2c1.Init.DualAddressMode = I2C_DUALADDRESS_DISABLE;
  hi2c1.Init.OwnAddress2 = 0;
  hi2c1.Init.OwnAddress2Masks = I2C_OA2_NOMASK;
  hi2c1.Init.GeneralCallMode = I2C_GENERALCALL_DISABLE;
  hi2c1.Init.NoStretchMode = I2C_NOSTRETCH_DISABLE;
  if (HAL_I2C_Init(&hi2c1) != HAL_OK)
  {
    Error_Handler();
  }

  /** Configure Analogue filter
  */
  if (HAL_I2CEx_ConfigAnalogFilter(&hi2c1, I2C_ANALOGFILTER_ENABLE) != HAL_OK)
  {
    Error_Handler();
  }

  /** Configure Digital filter
  */
  if (HAL_I2CEx_ConfigDigitalFilter(&hi2c1, 0) != HAL_OK)
  {
    Error_Handler();
  }

}

static void MX_SAI1_Init(void)
{

  hsai_BlockA1.Instance = SAI1_Block_A;
  hsai_BlockA1.Init.AudioMode = SAI_MODEMASTER_TX;
  hsai_BlockA1.Init.Synchro = SAI_ASYNCHRONOUS;
  hsai_BlockA1.Init.OutputDrive = SAI_OUTPUTDRIVE_DISABLE;
  hsai_BlockA1.Init.NoDivider = SAI_MASTERDIVIDER_ENABLE;
  hsai_BlockA1.Init.FIFOThreshold = SAI_FIFOTHRESHOLD_EMPTY;
  hsai_BlockA1.Init.AudioFrequency = SAI_AUDIO_FREQUENCY_44K;
  hsai_BlockA1.Init.SynchroExt = SAI_SYNCEXT_DISABLE;
  hsai_BlockA1.Init.MonoStereoMode = SAI_STEREOMODE;
  hsai_BlockA1.Init.CompandingMode = SAI_NOCOMPANDING;
  hsai_BlockA1.Init.TriState = SAI_OUTPUT_NOTRELEASED;
  if (HAL_SAI_InitProtocol(&hsai_BlockA1, SAI_I2S_STANDARD, SAI_PROTOCOL_DATASIZE_24BIT, 2) != HAL_OK)
  {
    Error_Handler();
  }
  hsai_BlockB1.Instance = SAI1_Block_B;
  hsai_BlockB1.Init.AudioMode = SAI_MODESLAVE_RX;
  hsai_BlockB1.Init.Synchro = SAI_SYNCHRONOUS;
  hsai_BlockB1.Init.OutputDrive = SAI_OUTPUTDRIVE_DISABLE;
  hsai_BlockB1.Init.FIFOThreshold = SAI_FIFOTHRESHOLD_EMPTY;
  hsai_BlockB1.Init.SynchroExt = SAI_SYNCEXT_DISABLE;
  hsai_BlockB1.Init.MonoStereoMode = SAI_STEREOMODE;
  hsai_BlockB1.Init.CompandingMode = SAI_NOCOMPANDING;
  hsai_BlockB1.Init.TriState = SAI_OUTPUT_NOTRELEASED;
  if (HAL_SAI_InitProtocol(&hsai_BlockB1, SAI_I2S_STANDARD, SAI_PROTOCOL_DATASIZE_24BIT, 2) != HAL_OK)
  {
    Error_Handler();
  }

}

static void MX_SPI3_Init(void)
{

  /* SPI3 parameter configuration*/
  hspi3.Instance = SPI3;
  hspi3.Init.Mode = SPI_MODE_MASTER;
  hspi3.Init.Direction = SPI_DIRECTION_2LINES_TXONLY;
  hspi3.Init.DataSize = SPI_DATASIZE_4BIT;
  hspi3.Init.CLKPolarity = SPI_POLARITY_LOW;
  hspi3.Init.CLKPhase = SPI_PHASE_1EDGE;
  hspi3.Init.NSS = SPI_NSS_HARD_OUTPUT;
  hspi3.Init.BaudRatePrescaler = SPI_BAUDRATEPRESCALER_2;
  hspi3.Init.FirstBit = SPI_FIRSTBIT_MSB;
  hspi3.Init.TIMode = SPI_TIMODE_DISABLE;
  hspi3.Init.CRCCalculation = SPI_CRCCALCULATION_DISABLE;
  hspi3.Init.CRCPolynomial = 0x0;
  hspi3.Init.NSSPMode = SPI_NSS_PULSE_ENABLE;
  hspi3.Init.NSSPolarity = SPI_NSS_POLARITY_LOW;
  hspi3.Init.FifoThreshold = SPI_FIFO_THRESHOLD_01DATA;
  hspi3.Init.TxCRCInitializationPattern = SPI_CRC_INITIALIZATION_ALL_ZERO_PATTERN;
  hspi3.Init.RxCRCInitializationPattern = SPI_CRC_INITIALIZATION_ALL_ZERO_PATTERN;
  hspi3.Init.MasterSSIdleness = SPI_MASTER_SS_IDLENESS_00CYCLE;
  hspi3.Init.MasterInterDataIdleness = SPI_MASTER_INTERDATA_IDLENESS_00CYCLE;
  hspi3.Init.MasterReceiverAutoSusp = SPI_MASTER_RX_AUTOSUSP_DISABLE;
  hspi3.Init.MasterKeepIOState = SPI_MASTER_KEEP_IO_STATE_DISABLE;
  hspi3.Init.IOSwap = SPI_IO_SWAP_DISABLE;
  if (HAL_SPI_Init(&hspi3) != HAL_OK)
  {
    Error_Handler();
  }

}

static void MX_TIM1_Init(void)
{

  TIM_Encoder_InitTypeDef sConfig = {0};
  TIM_MasterConfigTypeDef sMasterConfig = {0};

  htim1.Instance = TIM1;
  htim1.Init.Prescaler = 0;
  htim1.Init.CounterMode = TIM_COUNTERMODE_UP;
  htim1.Init.Period = 65535;
  htim1.Init.ClockDivision = TIM_CLOCKDIVISION_DIV1;
  htim1.Init.RepetitionCounter = 0;
  htim1.Init.AutoReloadPreload = TIM_AUTORELOAD_PRELOAD_DISABLE;
  sConfig.EncoderMode = TIM_ENCODERMODE_TI12;
  sConfig.IC1Polarity = TIM_ICPOLARITY_RISING;
  sConfig.IC1Selection = TIM_ICSELECTION_DIRECTTI;
  sConfig.IC1Prescaler = TIM_ICPSC_DIV1;
  sConfig.IC1Filter = 0;
  sConfig.IC2Polarity = TIM_ICPOLARITY_RISING;
  sConfig.IC2Selection = TIM_ICSELECTION_DIRECTTI;
  sConfig.IC2Prescaler = TIM_ICPSC_DIV1;
  sConfig.IC2Filter = 0;
  if (HAL_TIM_Encoder_Init(&htim1, &sConfig) != HAL_OK)
  {
    Error_Handler();
  }
  sMasterConfig.MasterOutputTrigger = TIM_TRGO_RESET;
  sMasterConfig.MasterOutputTrigger2 = TIM_TRGO2_RESET;
  sMasterConfig.MasterSlaveMode = TIM_MASTERSLAVEMODE_DISABLE;
  if (HAL_TIMEx_MasterConfigSynchronization(&htim1, &sMasterConfig) != HAL_OK)
  {
    Error_Handler();
  }

}

static void MX_TIM6_Init(void)
{

  TIM_MasterConfigTypeDef sMasterConfig = {0};

  htim6.Instance = TIM6;
  htim6.Init.Prescaler = 99;
  htim6.Init.CounterMode = TIM_COUNTERMODE_UP;
  htim6.Init.Period = 47999;
  htim6.Init.AutoReloadPreload = TIM_AUTORELOAD_PRELOAD_DISABLE;
  if (HAL_TIM_Base_Init(&htim6) != HAL_OK)
  {
    Error_Handler();
  }
  sMasterConfig.MasterOutputTrigger = TIM_TRGO_RESET;
  sMasterConfig.MasterSlaveMode = TIM_MASTERSLAVEMODE_DISABLE;
  if (HAL_TIMEx_MasterConfigSynchronization(&htim6, &sMasterConfig) != HAL_OK)
  {
    Error_Handler();
  }

}

static void MX_DMA_Init(void)
{

  /* DMA controller clock enable */
  __HAL_RCC_DMA1_CLK_ENABLE();

  /* DMA interrupt init */
  /* DMA1_Stream0_IRQn interrupt configuration */
  HAL_NVIC_SetPriority(DMA1_Stream0_IRQn, 0, 0);
  HAL_NVIC_EnableIRQ(DMA1_Stream0_IRQn);
  /* DMA1_Stream1_IRQn interrupt configuration */
  HAL_NVIC_SetPriority(DMA1_Stream1_IRQn, 0, 0);
  HAL_NVIC_EnableIRQ(DMA1_Stream1_IRQn);
  /* DMA1_Stream2_IRQn interrupt configuration */
  HAL_NVIC_SetPriority(DMA1_Stream2_IRQn, 0, 0);
  HAL_NVIC_EnableIRQ(DMA1_Stream2_IRQn);

}

static void MX_GPIO_Init(void)
{
  GPIO_InitTypeDef GPIO_InitStruct = {0};

  /* GPIO Ports Clock Enable */
  __HAL_RCC_GPIOE_CLK_ENABLE();
  __HAL_RCC_GPIOC_CLK_ENABLE();
  __HAL_RCC_GPIOH_CLK_ENABLE();
  __HAL_RCC_GPIOA_CLK_ENABLE();
  __HAL_RCC_GPIOB_CLK_ENABLE();
  __HAL_RCC_GPIOD_CLK_ENABLE();

  /*Configure GPIO pin Output Level */
  HAL_GPIO_WritePin(GPIOC, CODEC_NRST_Pin|PLED_7_Pin|PLED_6_Pin, GPIO_PIN_RESET);

  /*Configure GPIO pin Output Level */
  HAL_GPIO_WritePin(GPIOA, PLED_5_Pin|PLED_4_Pin|PWLED_3_Pin|PWLED_2_Pin, GPIO_PIN_RESET);

  /*Configure GPIO pin Output Level */
  HAL_GPIO_WritePin(GPIOB, PLED_0_Pin|PLED_1_Pin, GPIO_PIN_RESET);

  /*Configure GPIO pin Output Level */
  HAL_GPIO_WritePin(GPIOD, LED_Pin|SPI3_DC_Pin|SPI3_RES_Pin, GPIO_PIN_RESET);

  /*Configure GPIO pins : CODEC_NRST_Pin PLED_7_Pin PLED_6_Pin */
  GPIO_InitStruct.Pin = CODEC_NRST_Pin|PLED_7_Pin|PLED_6_Pin;
  GPIO_InitStruct.Mode = GPIO_MODE_OUTPUT_PP;
  GPIO_InitStruct.Pull = GPIO_NOPULL;
  GPIO_InitStruct.Speed = GPIO_SPEED_FREQ_LOW;
  HAL_GPIO_Init(GPIOC, &GPIO_InitStruct);

  /*Configure GPIO pins : PLED_5_Pin PLED_4_Pin PWLED_3_Pin PWLED_2_Pin */
  GPIO_InitStruct.Pin = PLED_5_Pin|PLED_4_Pin|PWLED_3_Pin|PWLED_2_Pin;
  GPIO_InitStruct.Mode = GPIO_MODE_OUTPUT_PP;
  GPIO_InitStruct.Pull = GPIO_NOPULL;
  GPIO_InitStruct.Speed = GPIO_SPEED_FREQ_LOW;
  HAL_GPIO_Init(GPIOA, &GPIO_InitStruct);

  /*Configure GPIO pins : PLED_0_Pin PLED_1_Pin */
  GPIO_InitStruct.Pin = PLED_0_Pin|PLED_1_Pin;
  GPIO_InitStruct.Mode = GPIO_MODE_OUTPUT_PP;
  GPIO_InitStruct.Pull = GPIO_NOPULL;
  GPIO_InitStruct.Speed = GPIO_SPEED_FREQ_LOW;
  HAL_GPIO_Init(GPIOB, &GPIO_InitStruct);

  /*Configure GPIO pins : LED_Pin SPI3_DC_Pin SPI3_RES_Pin */
  GPIO_InitStruct.Pin = LED_Pin|SPI3_DC_Pin|SPI3_RES_Pin;
  GPIO_InitStruct.Mode = GPIO_MODE_OUTPUT_PP;
  GPIO_InitStruct.Pull = GPIO_NOPULL;
  GPIO_InitStruct.Speed = GPIO_SPEED_FREQ_LOW;
  HAL_GPIO_Init(GPIOD, &GPIO_InitStruct);

  /*Configure GPIO pin : EN_BT_Pin */
  GPIO_InitStruct.Pin = EN_BT_Pin;
  GPIO_InitStruct.Mode = GPIO_MODE_INPUT;
  GPIO_InitStruct.Pull = GPIO_NOPULL;
  HAL_GPIO_Init(EN_BT_GPIO_Port, &GPIO_InitStruct);

  /*Configure GPIO pin : FT_2_Pin */
  GPIO_InitStruct.Pin = FT_2_Pin;
  GPIO_InitStruct.Mode = GPIO_MODE_INPUT;
  GPIO_InitStruct.Pull = GPIO_PULLUP;
  HAL_GPIO_Init(FT_2_GPIO_Port, &GPIO_InitStruct);

  /*Configure GPIO pin : FT_1_Pin */
  GPIO_InitStruct.Pin = FT_1_Pin;
  GPIO_InitStruct.Mode = GPIO_MODE_INPUT;
  GPIO_InitStruct.Pull = GPIO_PULLUP;
  HAL_GPIO_Init(FT_1_GPIO_Port, &GPIO_InitStruct);

}

/* USER CODE BEGIN 4 */
void HAL_TIM_PeriodElapsedCallback(TIM_HandleTypeDef* htim){

	/*
	 * 50 times a second it jumps into this interupt to update values from user inputs
	 * including the 8 pots and the rotary encoder
	 */
	controlSettingLocked = 0;

}

/* USER CODE END 4 */

void Error_Handler(void)
{
  __disable_irq();
  while (1)
  {
  }
}
